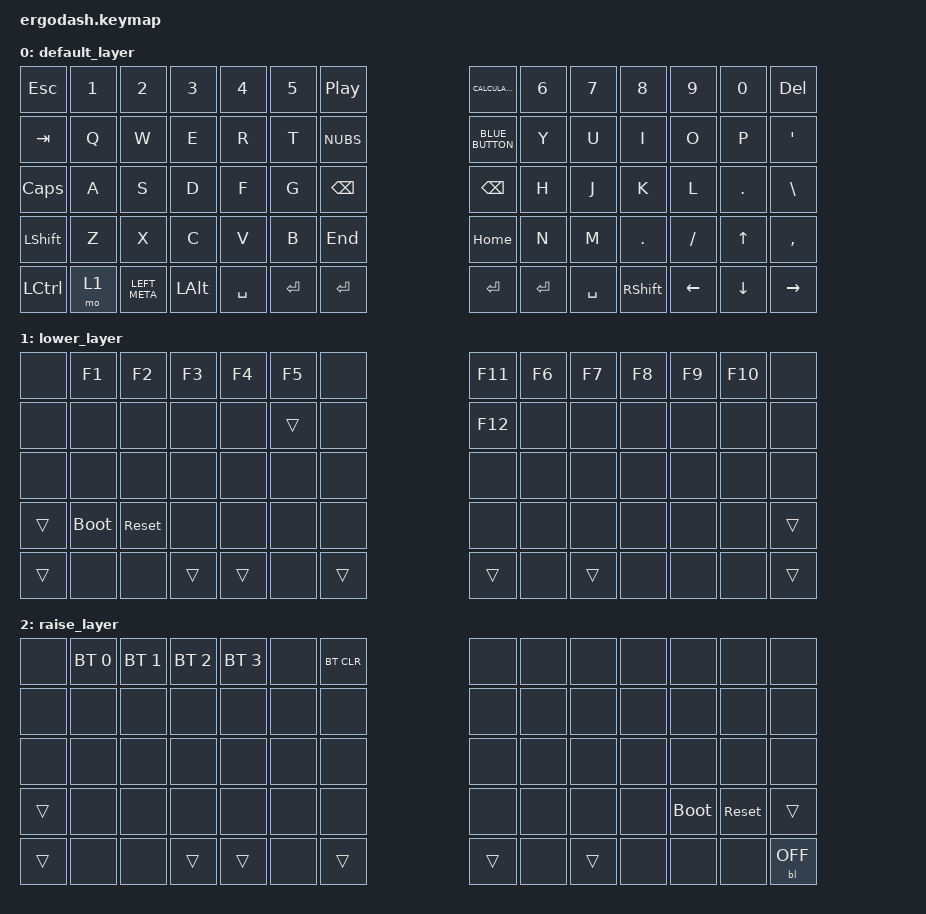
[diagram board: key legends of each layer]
/*
 * Copyright (c) 2020 The ZMK Contributors
 *
 * SPDX-License-Identifier: MIT
 */

#include <behaviors.dtsi>
#include <dt-bindings/zmk/backlight.h>
#include <dt-bindings/zmk/bt.h>
#include <dt-bindings/zmk/keys.h>

#define DEFAULT 0
#define LOWER   1
#define RAISE   2

/ {
    keymap {
        compatible = "zmk,keymap";

        default_layer {
            /* QWERTY
 * .----------------------------------------------------------------------------------------------------------------------.
 * |  `   |   1  |   2  |   3  |   4  |   5  |  [   |                    |  ]   |   6  |   7  |   8  |   9  |   0  | PScr |
 * |------+------+------+------+------+------+------+--------------------+------+------+------+------+------+------+------|
 * | ESC  |   Q  |   W  |   E  |   R  |   T  |  -   |                    |  =   |   Y  |   U  |   I  |   O  |   P  |  \   |
 * |------+------+------+------+------+------+------+--------------------+------+------+------+------+------+------+------|
 * | Tab  |   A  |   S  |   D  |   F  |   G  | Del  |                    | Bksp |   H  |   J  |   K  |   L  |   ;  |  '   |
 * |------+------+------+------+------+------+---------------------------+------+------+------+------+------+------+------|
 * | Shift|   Z  |   X  |   C  |   V  |   B  | End  |                    | Home |   N  |   M  |   ,  |   .  |   /  | Shift|
 * |-------------+------+------+------+------+------+------+------+------+------+------+------+------+------+-------------|
 * | Ctrl |      | PGDN | Win  |||||||| Alt  | Space| Lower|||||||| Raise| Enter| RAlt ||||||||      | PGUP | Ins  | RCtrl|
 * .----------------------------------------------------------------------------------------------------------------------.
 */

            bindings = <
&kp ESC         &kp N1  &kp N2         &kp N3        &kp N4     &kp N5  &kp C_PLAY_PAUSE                        &kp K_CALCULATOR   &kp N6  &kp N7     &kp N8           &kp N9          &kp N0          &kp DEL
&kp TAB         &kp Q   &kp W          &kp E         &kp R      &kp T   &kp NUBS                                &kp C_BLUE_BUTTON  &kp Y   &kp U      &kp I            &kp O           &kp P           &kp SQT
&kp CAPSLOCK    &kp A   &kp S          &kp D         &kp F      &kp G   &kp BACKSPACE                           &kp BSPC           &kp H   &kp J      &kp K            &kp L           &kp PERIOD      &kp BACKSLASH
&kp LEFT_SHIFT  &kp Z   &kp X          &kp C         &kp V      &kp B                     &kp END    &kp HOME                      &kp N   &kp M      &kp DOT          &kp SLASH       &kp UP_ARROW    &kp COMMA
&kp LCTRL       &mo 1   &kp LEFT_META  &kp LEFT_ALT  &kp SPACE          &kp ENTER         &kp ENTER  &kp ENTER  &kp ENTER                  &kp SPACE  &kp RIGHT_SHIFT  &kp LEFT_ARROW  &kp DOWN_ARROW  &kp RIGHT
            >;
        };

        lower_layer {
            /* .----------------------------------------------------------------------------------------------------------------------.
 * |  F11 |  F1  |  F2  |  F3  |  F4  |  F5  |      |                    |      |  F6  |  F7  |  F8  |  F9  |  F10 |  F12 |
 * |------+------+------+------+------+------+------+--------------------+------+------+------+------+------+------+------|
 * |      |      |      |      |      |      |      |                    |      |      |      |      |      |      |      |
 * |------+------+------+------+------+------+------+--------------------+------+------+------+------+------+------+------|
 * |      |      |      |      |      |      |      |                    |      |      |      |      |      |      |      |
 * |------+------+------+------+------+------+---------------------------+------+------+------+------+------+------+------|
 * | Shift| Boot | Reset|      |      |      |      |                    |      |      |      |      |      |      | Shift|
 * |-------------+------+------+------+------+------+------+------+------+------+------+------+------+------+-------------|
 * | Ctlr |      |      |  Win |||||||| Alt  |      | Lower|||||||| Raise|      | RAlt ||||||||      |      |      | RCtrl|
 * .----------------------------------------------------------------------------------------------------------------------.
 */ /* FIXME boot and reset are not yet locale aware */
            bindings = <
&none   &kp F1       &kp F2      &kp F3  &kp F4  &kp F5  &none                  &kp F11  &kp F6  &kp F7  &kp F8  &kp F9  &kp F10  &none
&none   &none        &none       &none   &none   &trans  &none                  &kp F12  &none   &none   &none   &none   &none    &none
&none   &none        &none       &none   &none   &none   &none                  &none    &none   &none   &none   &none   &none    &none
&trans  &bootloader  &sys_reset  &none   &none   &none          &none   &none            &none   &none   &none   &none   &none    &trans
&trans  &none        &none       &trans  &trans          &none  &trans  &trans  &none            &trans  &none   &none   &none    &trans
            >;
        };

        raise_layer {
            /* .----------------------------------------------------------------------------------------------------------------------.
 * |      | BT 0 | BT 1 | BT 2 | BT 3 |      | BTCL |                    |      |      |      |      |      |      |      |
 * |------+------+------+------+------+------+------+--------------------+------+------+------+------+------+------+------|
 * |      |      |      |      |      |      |      |                    |      |      |      |      |      |      |      |
 * |------+------+------+------+------+------+------+--------------------+------+------+------+------+------+------+------|
 * |      |      |      |      |      |      |      |                    |      |      |      |      |      |      |      |
 * |------+------+------+------+------+------+---------------------------+------+------+------+------+------+------+------|
 * | Shift|      |      |      |      |      |      |                    |      |      |      |      | Boot | Reset| Shift|
 * |-------------+------+------+------+------+------+------+------+------+------+------+------+------+------+-------------|
 * | Ctlr |      |      |  Win |||||||| Alt  |      | Lower|||||||| Raise|      | RAlt ||||||||      |      |      | RCtrl|
 * .----------------------------------------------------------------------------------------------------------------------.
 */ /* FIXME boot and reset are not yet locale aware */
            bindings = <
&none   &bt BT_SEL 0  &bt BT_SEL 1  &bt BT_SEL 2  &bt BT_SEL 3  &none  &bt BT_CLR                  &none  &none  &none   &none  &none        &none       &none
&none   &none         &none         &none         &none         &none  &none                       &none  &none  &none   &none  &none        &none       &none
&none   &none         &none         &none         &none         &none  &none                       &none  &none  &none   &none  &none        &none       &none
&trans  &none         &none         &none         &none         &none              &none   &none          &none  &none   &none  &bootloader  &sys_reset  &trans
&trans  &none         &none         &trans        &trans               &none       &trans  &trans  &none         &trans  &none  &none        &none       &bl BL_OFF
            >;
        };
    };
};
